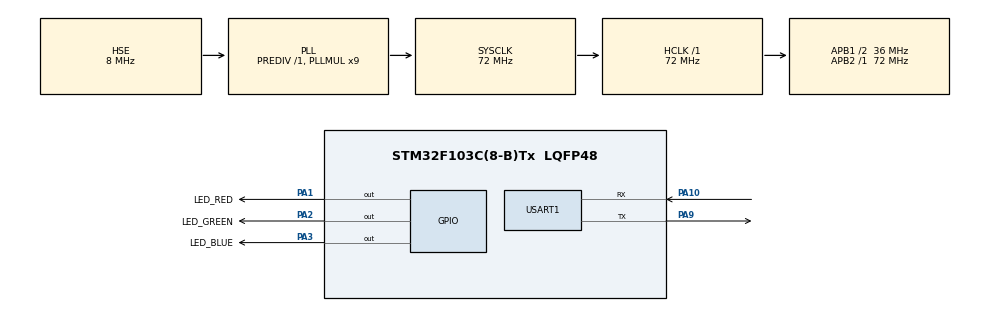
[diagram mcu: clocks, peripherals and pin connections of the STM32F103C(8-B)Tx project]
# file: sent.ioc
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Mcu.Family=STM32F1
Mcu.Name=STM32F103C(8-B)Tx
Mcu.Package=LQFP48
NVIC.PriorityGroup=NVIC_PRIORITYGROUP_4
NVIC.USART1_IRQn=true\:0\:0\:false\:false\:true\:true\:true\:true
PA1.GPIO_Label=LED_RED
PA1.PinState=GPIO_PIN_SET
PA1.Signal=GPIO_Output
PA10.Mode=Asynchronous
PA10.Signal=USART1_RX
PA13.Mode=Serial_Wire
PA13.Signal=SYS_JTMS-SWDIO
PA14.Mode=Serial_Wire
PA14.Signal=SYS_JTCK-SWCLK
PA2.GPIO_Label=LED_GREEN
PA2.PinState=GPIO_PIN_SET
PA2.Signal=GPIO_Output
PA3.GPIO_Label=LED_BLUE
PA3.PinState=GPIO_PIN_SET
PA3.Signal=GPIO_Output
PA9.Mode=Asynchronous
PA9.Signal=USART1_TX
PC14-OSC32_IN.Mode=LSE-External-Oscillator
PC14-OSC32_IN.Signal=RCC_OSC32_IN
PC15-OSC32_OUT.Mode=LSE-External-Oscillator
PC15-OSC32_OUT.Signal=RCC_OSC32_OUT
PD0-OSC_IN.Mode=HSE-External-Oscillator
PD0-OSC_IN.Signal=RCC_OSC_IN
PD1-OSC_OUT.Mode=HSE-External-Oscillator
PD1-OSC_OUT.Signal=RCC_OSC_OUT
ProjectManager.HeapSize=0x200
ProjectManager.StackSize=0x400
ProjectManager.TargetToolchain=CMake
RCC.AHBFreq_Value=72000000
RCC.APB1CLKDivider=RCC_HCLK_DIV2
RCC.APB1Freq_Value=36000000
RCC.APB1TimFreq_Value=72000000
RCC.APB2Freq_Value=72000000
RCC.APB2TimFreq_Value=72000000
RCC.HCLKFreq_Value=72000000
RCC.PLLMUL=RCC_PLL_MUL9
RCC.PLLSourceVirtual=RCC_PLLSOURCE_HSE
RCC.SYSCLKFreq_VALUE=72000000
RCC.SYSCLKSource=RCC_SYSCLKSOURCE_PLLCLK
RCC.USBFreq_Value=72000000
USART1.VirtualMode=VM_ASYNC
board=custom

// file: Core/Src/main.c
/* USER CODE BEGIN Header */
/**
  ******************************************************************************
  * @file           : main.c
  * @brief          : Main program body
  ******************************************************************************
  * @attention
  *
  * Copyright (c) 2026 STMicroelectronics.
  * All rights reserved.
  *
  * This software is licensed under terms that can be found in the LICENSE file
  * in the root directory of this software component.
  * If no LICENSE file comes with this software, it is provided AS-IS.
  *
  ******************************************************************************
  */
/* USER CODE END Header */
#include "main.h"
#include "usart.h"
#include "gpio.h"

/* USER CODE BEGIN Includes */
#include <string.h>
/* USER CODE END Includes */

/* USER CODE BEGIN PV */
uint8_t rx_data[2]={0};
/* USER CODE END PV */

void SystemClock_Config(void);

/* USER CODE BEGIN 0 */
void HAL_UART_RxCpltCallback(UART_HandleTypeDef *huart)
{
  HAL_UART_Receive_IT(&huart1, rx_data,2);
  GPIO_PinState state = GPIO_PIN_RESET;
  if (rx_data[1] == '0')
  {
    state = GPIO_PIN_SET;
  }
  if (rx_data[0] == 'R')
  {
   HAL_GPIO_WritePin(LED_RED_GPIO_Port, LED_RED_Pin, state);
  }
  else if (rx_data[0] == 'G')
  {
    HAL_GPIO_WritePin(LED_GREEN_GPIO_Port, LED_GREEN_Pin, state);
  }
  else if (rx_data[0] == 'B')
  {
    HAL_GPIO_WritePin(LED_BLUE_GPIO_Port, LED_BLUE_Pin, state);
  }
  HAL_UART_Transmit_IT(&huart1, rx_data, 2);
}

/* USER CODE END 0 */

int main(void)
{

  /* MCU Configuration--------------------------------------------------------*/

  /* Reset of all peripherals, Initializes the Flash interface and the Systick. */
  HAL_Init();

  /* Configure the system clock */
  SystemClock_Config();

  /* Initialize all configured peripherals */
  MX_GPIO_Init();
  MX_USART1_UART_Init();
  /* USER CODE BEGIN 2 */
//char nsg[] = "Hello World!\r\n";
HAL_UART_Receive_IT(&huart1, rx_data,2);
  /* USER CODE END 2 */

  /* Infinite loop */
  /* USER CODE BEGIN WHILE */
  while (1)
  {//HAL_UART_Transmit(&huart1, (uint8_t*)nsg, strlen(nsg));
   // HAL_Delay(1000);
    /* USER CODE END WHILE */

  }
}

void SystemClock_Config(void)
{
  RCC_OscInitTypeDef RCC_OscInitStruct = {0};
  RCC_ClkInitTypeDef RCC_ClkInitStruct = {0};

  /** Initializes the RCC Oscillators according to the specified parameters
  * in the RCC_OscInitTypeDef structure.
  */
  RCC_OscInitStruct.OscillatorType = RCC_OSCILLATORTYPE_HSE;
  RCC_OscInitStruct.HSEState = RCC_HSE_ON;
  RCC_OscInitStruct.HSEPredivValue = RCC_HSE_PREDIV_DIV1;
  RCC_OscInitStruct.HSIState = RCC_HSI_ON;
  RCC_OscInitStruct.PLL.PLLState = RCC_PLL_ON;
  RCC_OscInitStruct.PLL.PLLSource = RCC_PLLSOURCE_HSE;
  RCC_OscInitStruct.PLL.PLLMUL = RCC_PLL_MUL9;
  if (HAL_RCC_OscConfig(&RCC_OscInitStruct) != HAL_OK)
  {
    Error_Handler();
  }

  /** Initializes the CPU, AHB and APB buses clocks
  */
  RCC_ClkInitStruct.ClockType = RCC_CLOCKTYPE_HCLK|RCC_CLOCKTYPE_SYSCLK
                              |RCC_CLOCKTYPE_PCLK1|RCC_CLOCKTYPE_PCLK2;
  RCC_ClkInitStruct.SYSCLKSource = RCC_SYSCLKSOURCE_PLLCLK;
  RCC_ClkInitStruct.AHBCLKDivider = RCC_SYSCLK_DIV1;
  RCC_ClkInitStruct.APB1CLKDivider = RCC_HCLK_DIV2;
  RCC_ClkInitStruct.APB2CLKDivider = RCC_HCLK_DIV1;

  if (HAL_RCC_ClockConfig(&RCC_ClkInitStruct, FLASH_LATENCY_2) != HAL_OK)
  {
    Error_Handler();
  }
}

void Error_Handler(void)
{
  __disable_irq();
  while (1)
  {
  }
}
